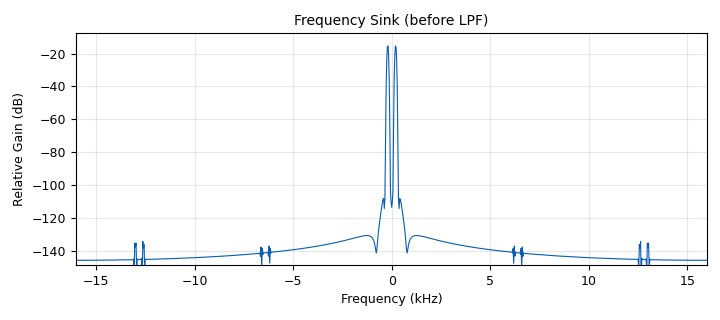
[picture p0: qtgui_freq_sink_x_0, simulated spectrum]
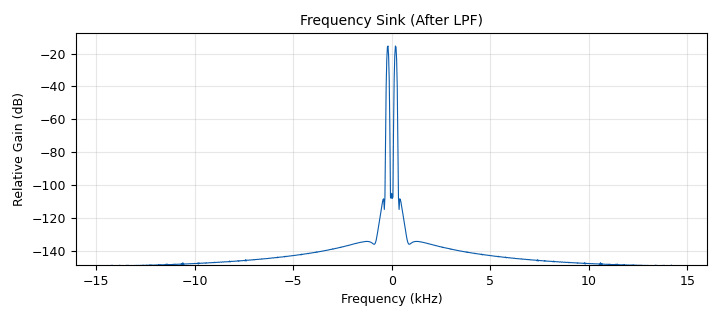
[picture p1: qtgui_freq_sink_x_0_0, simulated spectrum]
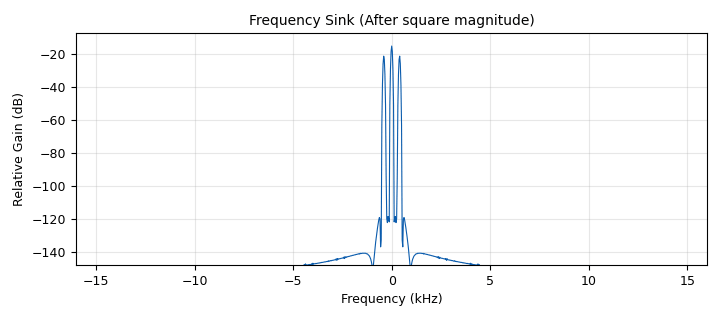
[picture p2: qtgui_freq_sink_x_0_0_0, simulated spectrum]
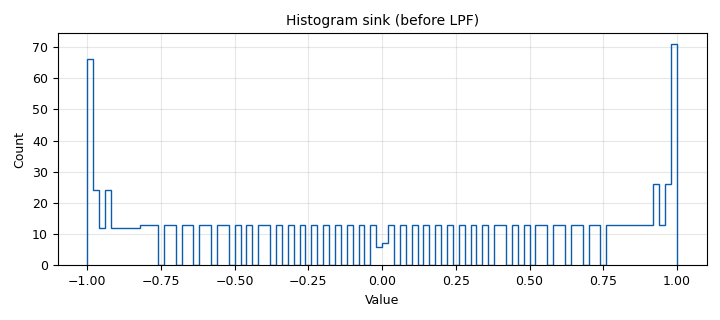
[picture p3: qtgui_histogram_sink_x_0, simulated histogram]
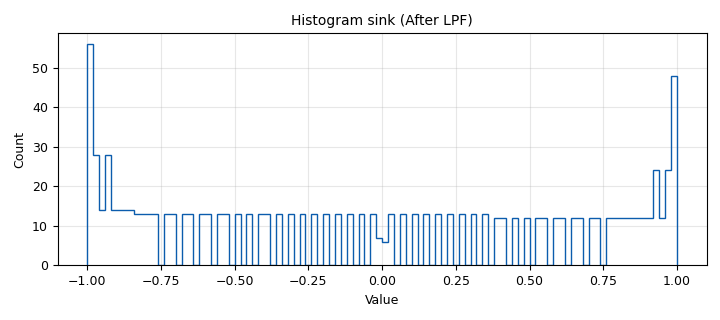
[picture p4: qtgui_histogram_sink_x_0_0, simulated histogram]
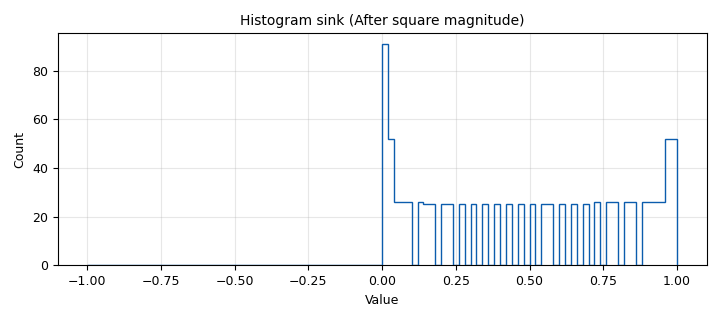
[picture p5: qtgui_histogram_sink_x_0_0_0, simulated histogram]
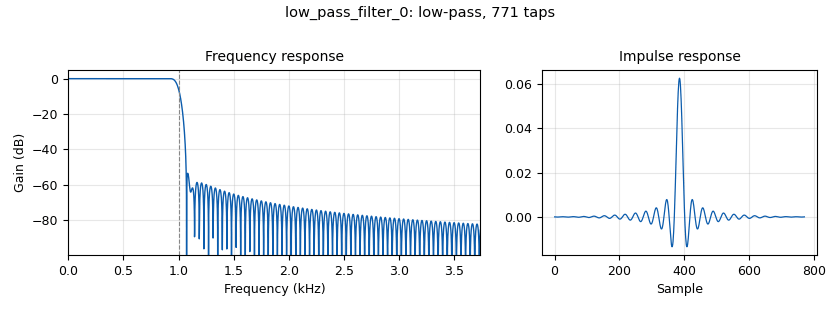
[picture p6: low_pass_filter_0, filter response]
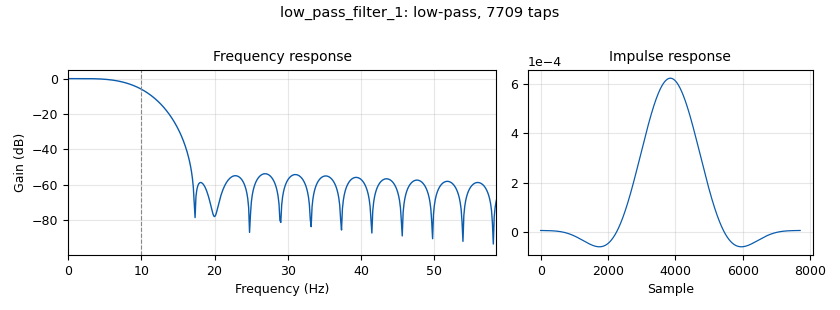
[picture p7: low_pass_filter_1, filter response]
<?xml version='1.0' encoding='utf-8'?>
<?grc format='1' created='3.7.10'?>
<flow_graph>
<block>
<key>options</key>
<param><key>id</key><value>power_measurement</value></param>
<param><key>author</key><value>Alexandros-Apostolos A. Boulogeorgos</value></param>
<param><key>generate_options</key><value>qt_gui</value></param>
<param><key>title</key><value>Power measurement</value></param>
</block>
<block>
<key>variable_qtgui_range</key>
<param><key>id</key><value>amplitude</value></param>
<param><key>value</key><value>1</value></param>
<param><key>gui_hint</key><value>0,0</value></param>
<param><key>label</key><value>Amplitude</value></param>
<param><key>orient</key><value>Qt.Horizontal</value></param>
<param><key>start</key><value>0</value></param>
<param><key>step</key><value>0.1</value></param>
<param><key>stop</key><value>2</value></param>
</block>
<block>
<key>variable_qtgui_range</key>
<param><key>id</key><value>f0</value></param>
<param><key>value</key><value>200</value></param>
<param><key>gui_hint</key><value>1,0</value></param>
<param><key>label</key><value>Center frequency</value></param>
<param><key>orient</key><value>Qt.Horizontal</value></param>
<param><key>start</key><value>0</value></param>
<param><key>step</key><value>1</value></param>
<param><key>stop</key><value>1000</value></param>
</block>
<block>
<key>variable_qtgui_range</key>
<param><key>id</key><value>fL</value></param>
<param><key>value</key><value>1000</value></param>
<param><key>gui_hint</key><value>1,1</value></param>
<param><key>label</key><value>LPF#1 cut-off frequency</value></param>
<param><key>orient</key><value>Qt.Horizontal</value></param>
<param><key>start</key><value>10</value></param>
<param><key>step</key><value>1</value></param>
<param><key>stop</key><value>10000</value></param>
</block>
<block>
<key>variable_qtgui_range</key>
<param><key>id</key><value>offs</value></param>
<param><key>value</key><value>0</value></param>
<param><key>gui_hint</key><value>0,1</value></param>
<param><key>label</key><value>Offset</value></param>
<param><key>orient</key><value>Qt.Horizontal</value></param>
<param><key>start</key><value>-1</value></param>
<param><key>step</key><value>0.010</value></param>
<param><key>stop</key><value>1</value></param>
</block>
<block>
<key>variable</key>
<param><key>id</key><value>samp_rate</value></param>
<param><key>value</key><value>32000</value></param>
</block>
<block>
<key>variable_qtgui_chooser</key>
<param><key>id</key><value>waveform</value></param>
<param><key>value</key><value>102</value></param>
<param><key>gui_hint</key><value>0,2</value></param>
<param><key>label0</key><value>cos</value></param>
<param><key>label1</key><value>rect</value></param>
<param><key>label2</key><value>tri</value></param>
<param><key>label</key><value>Waveform</value></param>
<param><key>num_opts</key><value>3</value></param>
<param><key>option0</key><value>102</value></param>
<param><key>option1</key><value>103</value></param>
<param><key>option2</key><value>104</value></param>
<param><key>type</key><value>int</value></param>
</block>
<block>
<key>analog_sig_source_x</key>
<param><key>id</key><value>analog_sig_source_x_0</value></param>
<param><key>amp</key><value>amplitude</value></param>
<param><key>freq</key><value>f0</value></param>
<param><key>offset</key><value>offs</value></param>
<param><key>type</key><value>float</value></param>
<param><key>samp_rate</key><value>samp_rate</value></param>
<param><key>waveform</key><value>waveform</value></param>
</block>
<block>
<key>blocks_complex_to_mag_squared</key>
<param><key>id</key><value>blocks_complex_to_mag_squared_0</value></param>
</block>
<block>
<key>blocks_float_to_complex</key>
<param><key>id</key><value>blocks_float_to_complex_0</value></param>
</block>
<block>
<key>blocks_throttle</key>
<param><key>id</key><value>blocks_throttle_0</value></param>
<param><key>samples_per_second</key><value>samp_rate</value></param>
<param><key>type</key><value>float</value></param>
</block>
<block>
<key>low_pass_filter</key>
<param><key>id</key><value>low_pass_filter_0</value></param>
<param><key>cutoff_freq</key><value>fL</value></param>
<param><key>decim</key><value>1</value></param>
<param><key>type</key><value>fir_filter_fff</value></param>
<param><key>gain</key><value>1</value></param>
<param><key>samp_rate</key><value>samp_rate</value></param>
<param><key>width</key><value>0.1*fL</value></param>
<param><key>win</key><value>firdes.WIN_HAMMING</value></param>
</block>
<block>
<key>low_pass_filter</key>
<param><key>id</key><value>low_pass_filter_1</value></param>
<param><key>cutoff_freq</key><value>10</value></param>
<param><key>decim</key><value>1</value></param>
<param><key>type</key><value>fir_filter_fff</value></param>
<param><key>gain</key><value>1</value></param>
<param><key>samp_rate</key><value>samp_rate</value></param>
<param><key>width</key><value>10</value></param>
<param><key>win</key><value>firdes.WIN_HAMMING</value></param>
</block>
<block>
<key>qtgui_freq_sink_x</key>
<param><key>id</key><value>qtgui_freq_sink_x_0</value></param>
<param><key>autoscale</key><value>True</value></param>
<param><key>bw</key><value>samp_rate</value></param>
<param><key>fc</key><value>0</value></param>
<param><key>fftsize</key><value>1024</value></param>
<param><key>gui_hint</key><value>2,1</value></param>
<param><key>grid</key><value>True</value></param>
<param><key>name</key><value>"Frequency Sink (before LPF)"</value></param>
<param><key>showports</key><value>True</value></param>
<param><key>type</key><value>float</value></param>
<param><key>wintype</key><value>firdes.WIN_BLACKMAN_hARRIS</value></param>
</block>
<block>
<key>qtgui_freq_sink_x</key>
<param><key>id</key><value>qtgui_freq_sink_x_0_0</value></param>
<param><key>autoscale</key><value>True</value></param>
<param><key>bw</key><value>samp_rate</value></param>
<param><key>fc</key><value>0</value></param>
<param><key>fftsize</key><value>1024</value></param>
<param><key>gui_hint</key><value>3,1</value></param>
<param><key>grid</key><value>True</value></param>
<param><key>name</key><value>"Frequency Sink (After LPF)"</value></param>
<param><key>showports</key><value>True</value></param>
<param><key>type</key><value>float</value></param>
<param><key>wintype</key><value>firdes.WIN_BLACKMAN_hARRIS</value></param>
</block>
<block>
<key>qtgui_freq_sink_x</key>
<param><key>id</key><value>qtgui_freq_sink_x_0_0_0</value></param>
<param><key>autoscale</key><value>True</value></param>
<param><key>bw</key><value>samp_rate</value></param>
<param><key>fc</key><value>0</value></param>
<param><key>fftsize</key><value>1024</value></param>
<param><key>gui_hint</key><value>4,1</value></param>
<param><key>grid</key><value>True</value></param>
<param><key>name</key><value>"Frequency Sink (After square magnitude)"</value></param>
<param><key>showports</key><value>True</value></param>
<param><key>type</key><value>float</value></param>
<param><key>wintype</key><value>firdes.WIN_BLACKMAN_hARRIS</value></param>
</block>
<block>
<key>qtgui_histogram_sink_x</key>
<param><key>id</key><value>qtgui_histogram_sink_x_0</value></param>
<param><key>gui_hint</key><value>2,2</value></param>
<param><key>xmax</key><value>1</value></param>
<param><key>xmin</key><value>-1</value></param>
<param><key>name</key><value>"Histogram sink (before LPF)"</value></param>
<param><key>bins</key><value>100</value></param>
<param><key>size</key><value>1024</value></param>
<param><key>type</key><value>float</value></param>
</block>
<block>
<key>qtgui_histogram_sink_x</key>
<param><key>id</key><value>qtgui_histogram_sink_x_0_0</value></param>
<param><key>gui_hint</key><value>3,2</value></param>
<param><key>xmax</key><value>1</value></param>
<param><key>xmin</key><value>-1</value></param>
<param><key>name</key><value>"Histogram sink (After LPF)"</value></param>
<param><key>bins</key><value>100</value></param>
<param><key>size</key><value>1024</value></param>
<param><key>type</key><value>float</value></param>
</block>
<block>
<key>qtgui_histogram_sink_x</key>
<param><key>id</key><value>qtgui_histogram_sink_x_0_0_0</value></param>
<param><key>gui_hint</key><value>4,2</value></param>
<param><key>xmax</key><value>1</value></param>
<param><key>xmin</key><value>-1</value></param>
<param><key>name</key><value>"Histogram sink (After square magnitude)"</value></param>
<param><key>bins</key><value>100</value></param>
<param><key>size</key><value>1024</value></param>
<param><key>type</key><value>float</value></param>
</block>
<block>
<key>qtgui_number_sink</key>
<param><key>id</key><value>qtgui_number_sink_0</value></param>
<param><key>autoscale</key><value>True</value></param>
<param><key>gui_hint</key><value>4,3</value></param>
<param><key>graph_type</key><value>qtgui.NUM_GRAPH_VERT</value></param>
<param><key>type</key><value>float</value></param>
<param><key>name</key><value>"Average Power"</value></param>
</block>
<block>
<key>qtgui_time_sink_x</key>
<param><key>id</key><value>qtgui_time_sink_x_0</value></param>
<param><key>autoscale</key><value>True</value></param>
<param><key>gui_hint</key><value>2,0</value></param>
<param><key>grid</key><value>True</value></param>
<param><key>color1</key><value>"blue"</value></param>
<param><key>label1</key><value></value></param>
<param><key>name</key><value>"Time sink (before LPF)"</value></param>
<param><key>size</key><value>1024</value></param>
<param><key>srate</key><value>samp_rate</value></param>
<param><key>type</key><value>float</value></param>
</block>
<block>
<key>qtgui_time_sink_x</key>
<param><key>id</key><value>qtgui_time_sink_x_0_0</value></param>
<param><key>autoscale</key><value>True</value></param>
<param><key>gui_hint</key><value>3,0</value></param>
<param><key>grid</key><value>True</value></param>
<param><key>color1</key><value>"blue"</value></param>
<param><key>label1</key><value></value></param>
<param><key>name</key><value>"Time sink (After LPF)"</value></param>
<param><key>size</key><value>1024</value></param>
<param><key>srate</key><value>samp_rate</value></param>
<param><key>type</key><value>float</value></param>
</block>
<block>
<key>qtgui_time_sink_x</key>
<param><key>id</key><value>qtgui_time_sink_x_0_1</value></param>
<param><key>autoscale</key><value>True</value></param>
<param><key>gui_hint</key><value>4,0</value></param>
<param><key>grid</key><value>True</value></param>
<param><key>color1</key><value>"blue"</value></param>
<param><key>label1</key><value></value></param>
<param><key>name</key><value>"Time sink (After square magnitude)"</value></param>
<param><key>size</key><value>1024</value></param>
<param><key>srate</key><value>samp_rate</value></param>
<param><key>type</key><value>float</value></param>
</block>
<connection><source_block_id>analog_sig_source_x_0</source_block_id><sink_block_id>blocks_throttle_0</sink_block_id><source_key>0</source_key><sink_key>0</sink_key></connection>
<connection><source_block_id>blocks_complex_to_mag_squared_0</source_block_id><sink_block_id>low_pass_filter_1</sink_block_id><source_key>0</source_key><sink_key>0</sink_key></connection>
<connection><source_block_id>blocks_complex_to_mag_squared_0</source_block_id><sink_block_id>qtgui_freq_sink_x_0_0_0</sink_block_id><source_key>0</source_key><sink_key>0</sink_key></connection>
<connection><source_block_id>blocks_complex_to_mag_squared_0</source_block_id><sink_block_id>qtgui_histogram_sink_x_0_0_0</sink_block_id><source_key>0</source_key><sink_key>0</sink_key></connection>
<connection><source_block_id>blocks_complex_to_mag_squared_0</source_block_id><sink_block_id>qtgui_time_sink_x_0_1</sink_block_id><source_key>0</source_key><sink_key>0</sink_key></connection>
<connection><source_block_id>blocks_float_to_complex_0</source_block_id><sink_block_id>blocks_complex_to_mag_squared_0</sink_block_id><source_key>0</source_key><sink_key>0</sink_key></connection>
<connection><source_block_id>blocks_throttle_0</source_block_id><sink_block_id>low_pass_filter_0</sink_block_id><source_key>0</source_key><sink_key>0</sink_key></connection>
<connection><source_block_id>blocks_throttle_0</source_block_id><sink_block_id>qtgui_freq_sink_x_0</sink_block_id><source_key>0</source_key><sink_key>0</sink_key></connection>
<connection><source_block_id>blocks_throttle_0</source_block_id><sink_block_id>qtgui_histogram_sink_x_0</sink_block_id><source_key>0</source_key><sink_key>0</sink_key></connection>
<connection><source_block_id>blocks_throttle_0</source_block_id><sink_block_id>qtgui_time_sink_x_0</sink_block_id><source_key>0</source_key><sink_key>0</sink_key></connection>
<connection><source_block_id>low_pass_filter_0</source_block_id><sink_block_id>blocks_float_to_complex_0</sink_block_id><source_key>0</source_key><sink_key>0</sink_key></connection>
<connection><source_block_id>low_pass_filter_0</source_block_id><sink_block_id>qtgui_freq_sink_x_0_0</sink_block_id><source_key>0</source_key><sink_key>0</sink_key></connection>
<connection><source_block_id>low_pass_filter_0</source_block_id><sink_block_id>qtgui_histogram_sink_x_0_0</sink_block_id><source_key>0</source_key><sink_key>0</sink_key></connection>
<connection><source_block_id>low_pass_filter_0</source_block_id><sink_block_id>qtgui_time_sink_x_0_0</sink_block_id><source_key>0</source_key><sink_key>0</sink_key></connection>
<connection><source_block_id>low_pass_filter_1</source_block_id><sink_block_id>qtgui_number_sink_0</sink_block_id><source_key>0</source_key><sink_key>0</sink_key></connection>
</flow_graph>
